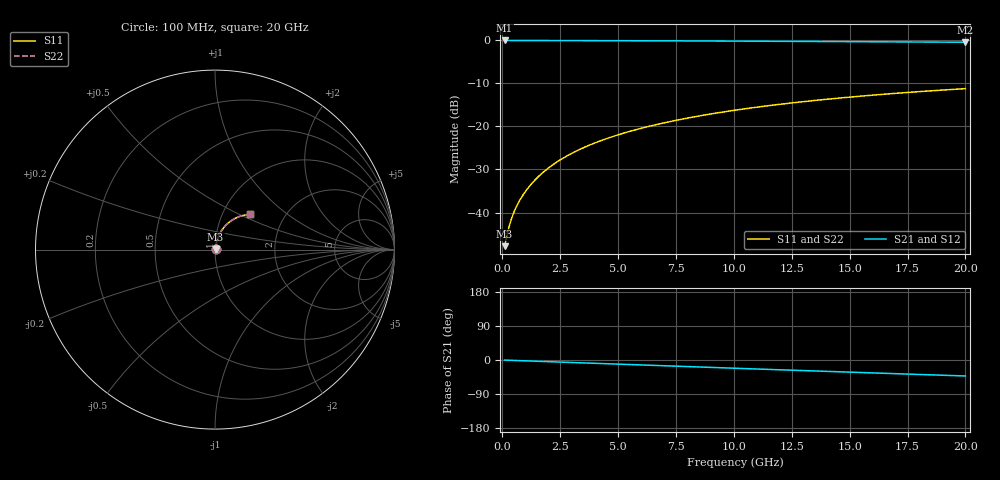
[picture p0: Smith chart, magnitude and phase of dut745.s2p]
! Touchstone file exported from HFSS 2026.1.0
!  File:  C:/ffzhzh/LocalFiles/Ansys_Project_Files/temp_train_TMRDL_745_1783155183_22436.aedt
!  Generated:  04:54:16 PM Jul  4, 2026
!  Design:  TMRDL
!  Project:  temp_train_TMRDL_745_1783155183_22436
! Variables:
!  h_bsmrdl = 2um
!  h_ox = 20um
!  h_rdl = 5um
!  h_sub = 80um
!  h_tmrdl = 2.49um
!  h_tsv = 80um
!  h_via = 3um
!  l_bsmrdl = 300um
!  l_sub = 1065.82um
!  l_tmrdl = 665.82um
!  m_sub = 200um
!  pitch = 45.73um
!  r_tsv = 6um
!  s_tmrdl = 10um
!  w_bsmrdl = 18um
!  w_sub = 500um
!  w_tmrdl = 29.75um
!  x_tsv_center1 = 680.695um
!  x_tsv_center2 = 998.695um
!  x_tsv_center3 = 1694.265um
!  x_tsv_center4 = 2012.265um
!  x_tsv_center5 = 2707.835um
!  x_tsv_center6 = 3025.835um
# GHz S MA R 50.000000
! Terminal data exported
! Port[1] = TM_RDL1_1_T1
! Port[2] = TM_RDL1_1_T2
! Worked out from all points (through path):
!   200 points, 100 MHz to 20 GHz, reference 50 ohm
!   highest |S21| = -0.03 dB at 100 MHz (marker M1); lowest = -0.4 dB at 20 GHz (marker M2)
!   group delay of S21, straight-line fit = 5.86 ps
!   lowest |S11| = -47.8 dB at 100 MHz (marker M3), VSWR 1.01, Z = 50.4 + j0.2 ohm
!   |S11| at or under -10 dB: start of sweep to end of sweep
!   |S22| runs from -47.8 to -11.2 dB; largest |S21 - S12| = 3.4e-15
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0.1  0.004067 29.2  0.9965 -0.2  0.9965 -0.2  0.004067 29.2
! Gamma 0 0 0 0
! Port Impedance 50 0 50 0
0.2  0.005413 45.7  0.9962 -0.5  0.9962 -0.5  0.005413 45.7
0.3  0.006963 54.2  0.996 -0.7  0.996 -0.7  0.006963 54.2
0.4  0.008523 59.1  0.9957 -0.9  0.9957 -0.9  0.008523 59.1
0.5  0.01006 62.5  0.9955 -1.2  0.9955 -1.2  0.01006 62.5
0.6  0.01157 65.0  0.9953 -1.4  0.9953 -1.4  0.01157 65.0
0.8  0.01456 68.6  0.995 -1.8  0.995 -1.8  0.01456 68.6
1.1  0.01909 72.0  0.9947 -2.5  0.9947 -2.5  0.01909 72.0
1.3  0.02215 73.5  0.9946 -2.9  0.9946 -2.9  0.02215 73.5
1.6  0.02678 75.0  0.9944 -3.5  0.9944 -3.5  0.02678 75.0
2.1  0.03457 76.3  0.994 -4.6  0.994 -4.6  0.03457 76.3
2.7  0.04397 76.7  0.9934 -6.0  0.9934 -6.0  0.04397 76.7
3.5  0.05652 76.4  0.9926 -7.7  0.9926 -7.7  0.05652 76.4
4.2  0.06745 75.6  0.9917 -9.2  0.9917 -9.2  0.06744 75.6
5  0.07984 74.5  0.9905 -11.0  0.9905 -11.0  0.07984 74.5
5.9  0.09363 73.0  0.989 -12.9  0.989 -12.9  0.09362 73.0
6.8  0.1072 71.4  0.9872 -14.9  0.9872 -14.9  0.1072 71.4
8.3  0.1294 68.5  0.9839 -18.1  0.9839 -18.1  0.1294 68.5
10.1  0.155 65.0  0.9795 -21.9  0.9795 -21.9  0.155 65.0
13.4  0.1991 58.4  0.9702 -28.8  0.9702 -28.8  0.1991 58.4
16.7  0.2391 51.9  0.9601 -35.6  0.9601 -35.6  0.239 51.9
20  0.2746 45.5  0.9498 -42.2  0.9498 -42.2  0.2746 45.5
